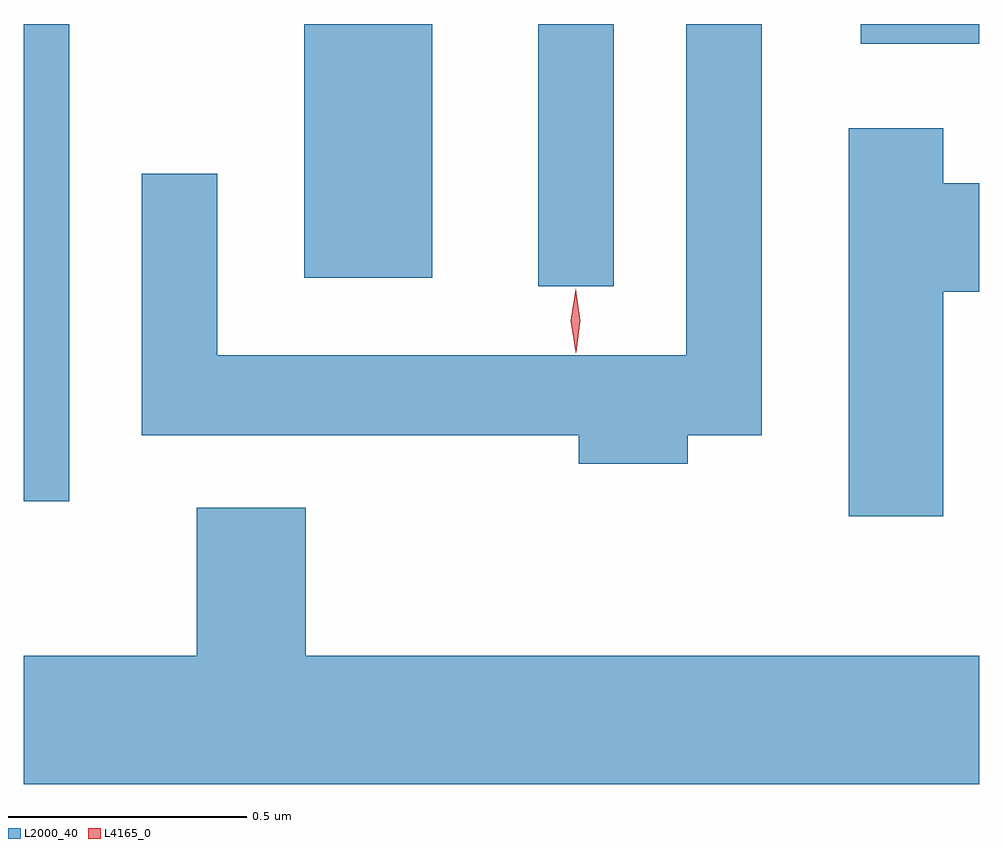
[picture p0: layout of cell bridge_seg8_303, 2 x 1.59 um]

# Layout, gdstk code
import gdstk
lib = gdstk.Library(unit=1e-6, precision=1e-09)
def R(c, l, rs):  # rectangles x0, y0, x1, y1
    for r in rs: c.add(gdstk.rectangle(r[:2], r[2:], *l))
def P(c, l, *ps):  # polygons
    for p in ps: c.add(gdstk.Polygon(p, *l))
L2000_40 = (2000, 40)
L4165_0 = (4165, 0)

bridge_seg8_303 = lib.new_cell('bridge_seg8_303')
R(bridge_seg8_303, L2000_40, [(1389.799,1810.368,1389.894,1811.367), (1390.876,1810.818,1391.034,1811.367), (1390.386,1810.836,1390.654,1811.367), (1391.551,1811.326,1391.799,1811.367)])
P(bridge_seg8_303, L2000_40, [(1391.189,1810.506),(1391.344,1810.506),(1391.344,1811.367),(1391.186,1811.367),(1391.186,1810.674),(1390.204,1810.674),(1390.204,1811.053),(1390.046,1811.053),(1390.046,1810.506),(1390.961,1810.506),(1390.961,1810.446),(1391.189,1810.446)],
  [(1391.724,1810.806),(1391.799,1810.806),(1391.799,1811.034),(1391.724,1811.034),(1391.724,1811.149),(1391.526,1811.149),(1391.526,1810.336),(1391.724,1810.336)],
  [(1391.799,1810.044),(1390.389,1810.044),(1390.389,1810.354),(1390.161,1810.354),(1390.161,1810.044),(1389.799,1810.044),(1389.799,1809.776),(1391.799,1809.776)])
P(bridge_seg8_303, L4165_0, [(1390.954,1810.679),(1390.954,1810.68),(1390.944,1810.746),(1390.954,1810.812),(1390.954,1810.813),(1390.954,1810.812),(1390.964,1810.746),(1390.955,1810.68)])

lib.write_gds('bridge_seg8_303.gds')
